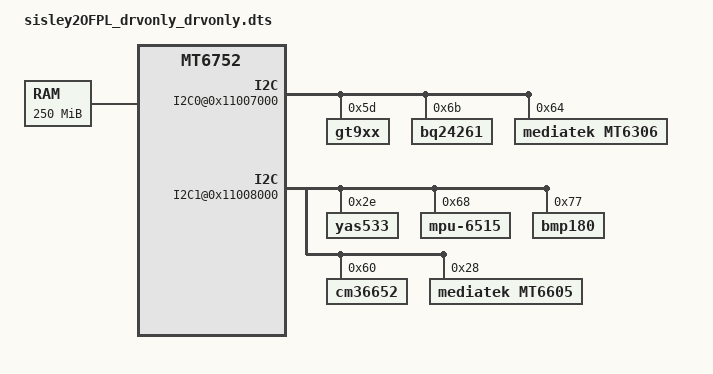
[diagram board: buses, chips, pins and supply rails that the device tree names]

/dts-v1/;

/include/ "mt6752.dtsi"

/ {
	memory@00000000 {
		device_type = "memory";
		reg = <0 0x40000000 0 0xFA00000>;
	};

	bus {
		compatible = "simple-bus";
		#address-cells = <1>;
		#size-cells = <1>;
		ranges = <0 0 0 0xffffffff>;

		I2C0@0x11007000 {
			gt9xx@5d {
				compatible = "gt9xx";
				reg = <0x5d>;
			};

			bq24261@6b {
				compatible = "bq24261";
				reg = <0x6b>;
			};

			mt6306@64 {
				compatible = "mediatek,mt6306";
				reg = <0x64>;
			};
		};

		I2C1@0x11008000 {
			yas533@2e {
				compatible = "yas533";
				reg = <0x2e>;
			};

			mpu-6515@68 {
				compatible = "mpu-6515";
				reg = <0x68>;
			};

			bmp180@77 {
				compatible = "bmp180";
				reg = <0x77>;
			};

			cm36652@60 {
				compatble = "cm36652";
				reg = <0x60>;
			};

			mt6605@28 {
				compatible = "mediatek,mt6605";
				reg = <0x28>;
			};
		};

	};
    TOUCH@0 {
    	compatible = "mediatek,TPD";
		eint-gpio = <139 1>;
		rst-gpio = <144 1>;
		interrupts = <139 2>;
    };	
  /*  start sensor */
		cust_accel@0 {
		compatible 				= "mediatek,MC3410";
		i2c_num 				= <2>;
		i2c_addr				= <0x4c 0 0 0>;
		direction 				= <0>;
		power_id 				= <0xffff>;
		power_vol				= <0>;
		firlen 					= <0>;
		is_batch_supported  			= <0>;
  		};
  
		cust_alsps@0 {
		compatible 				= "mediatek,CM36652";
		i2c_num 				= <1>;
		i2c_addr 				= <0x60 0 0 0>;
		polling_mode_ps			= <0>;
		polling_mode_als		= <1>;
		power_id   				= <0xffff>;
		power_vol  				= <0>; 
/* Total has 15 level*/
		als_level  				= <0 471 1058 1703 3883 10171 10443 15445 28499 35153 41421 59194 65535 65535 65535>;
/*  Total has 16 range*/
		als_value  				= <0 133 303 501 1002 2001 3355 5001 8008 10010 12000 16010 20010 20010 20010 20010>;
		ps_threshold_high		=  <32>;
		ps_threshold_low		=  <22>;
		is_batch_supported_ps	= <1>;
		is_batch_supported_als	= <1>;
		};
		
  		cust_mag@0 {
		compatible				= "mediatek,AKM09911";
		i2c_num 				= <2>;
		i2c_addr				= <0x0D 0 0 0>;
		direction 				= <1>;
		power_id 				= <0xffff>;
		power_vol				= <0>;
		is_batch_supported  	= <0>;
  		};
		
  		cust_gyro@0 {
		compatible 				= "mediatek,ITG1010";
		i2c_num 				= <2>;
		i2c_addr				= <0x68 0 0 0>;
		direction 				= <3>;
		power_id 				= <0xffff>;
		power_vol				= <0>;
		firlen 					= <0>;
		is_batch_supported  	= <0>;
  		};


  /* end sensor */
};
